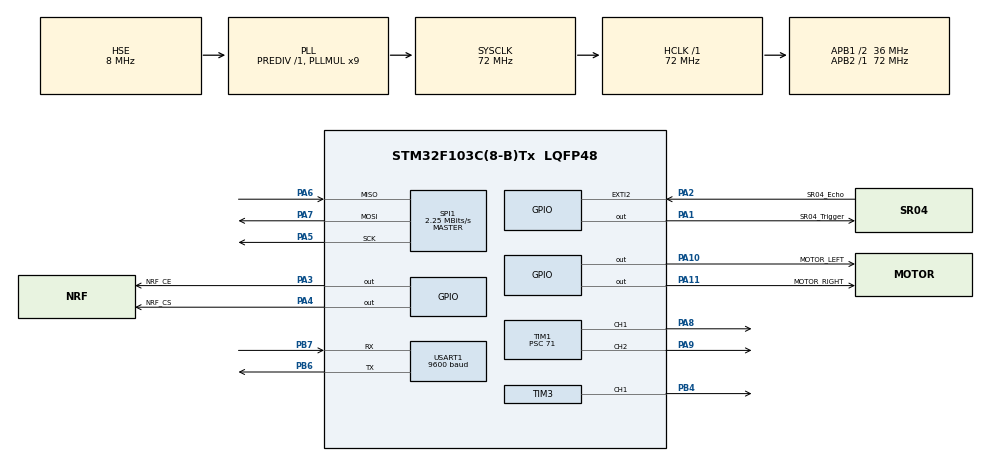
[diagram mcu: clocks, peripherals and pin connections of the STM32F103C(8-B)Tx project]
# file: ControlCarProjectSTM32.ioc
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Mcu.Family=STM32F1
Mcu.Name=STM32F103C(8-B)Tx
Mcu.Package=LQFP48
NVIC.EXTI2_IRQn=true\:1\:0\:true\:false\:true\:true\:true\:true
NVIC.PriorityGroup=NVIC_PRIORITYGROUP_4
NVIC.USART1_IRQn=true\:1\:0\:true\:false\:true\:true\:true\:true
PA1.GPIO_Label=SR04_Trigger
PA1.Signal=GPIO_Output
PA10.GPIO_Label=MOTOR_LEFT
PA10.Signal=GPIO_Output
PA11.GPIO_Label=MOTOR_RIGHT
PA11.Signal=GPIO_Output
PA13.Mode=Serial_Wire
PA13.Signal=SYS_JTMS-SWDIO
PA14.Mode=Serial_Wire
PA14.Signal=SYS_JTCK-SWCLK
PA2.GPIO_Label=SR04_Echo
PA2.GPIO_ModeDefaultEXTI=GPIO_MODE_IT_RISING_FALLING
PA2.Signal=GPXTI2
PA3.GPIO_Label=NRF_CE
PA3.Signal=GPIO_Output
PA4.GPIO_Label=NRF_CS
PA4.Signal=GPIO_Output
PA5.Mode=Full_Duplex_Master
PA5.Signal=SPI1_SCK
PA6.Mode=Full_Duplex_Master
PA6.Signal=SPI1_MISO
PA7.Mode=Full_Duplex_Master
PA7.Signal=SPI1_MOSI
PA8.Signal=S_TIM1_CH1
PA9.Signal=S_TIM1_CH2
PB4.Signal=S_TIM3_CH1
PB6.Mode=Asynchronous
PB6.Signal=USART1_TX
PB7.Mode=Asynchronous
PB7.Signal=USART1_RX
PD0-OSC_IN.Mode=HSE-External-Oscillator
PD0-OSC_IN.Signal=RCC_OSC_IN
PD1-OSC_OUT.Mode=HSE-External-Oscillator
PD1-OSC_OUT.Signal=RCC_OSC_OUT
ProjectManager.HeapSize=0x200
ProjectManager.StackSize=0x400
ProjectManager.TargetToolchain=STM32CubeIDE
RCC.AHBFreq_Value=72000000
RCC.APB1CLKDivider=RCC_HCLK_DIV2
RCC.APB1Freq_Value=36000000
RCC.APB1TimFreq_Value=72000000
RCC.APB2Freq_Value=72000000
RCC.APB2TimFreq_Value=72000000
RCC.HCLKFreq_Value=72000000
RCC.PLLMUL=RCC_PLL_MUL9
RCC.PLLSourceVirtual=RCC_PLLSOURCE_HSE
RCC.SYSCLKFreq_VALUE=72000000
RCC.SYSCLKSource=RCC_SYSCLKSOURCE_PLLCLK
RCC.USBFreq_Value=72000000
SH.S_TIM1_CH1.0=TIM1_CH1,PWM Generation1 CH1
SH.S_TIM1_CH2.0=TIM1_CH2,PWM Generation2 CH2
SH.S_TIM3_CH1.0=TIM3_CH1,PWM Generation1 CH1
SPI1.BaudRatePrescaler=SPI_BAUDRATEPRESCALER_32
SPI1.CalculateBaudRate=2.25 MBits/s
SPI1.Direction=SPI_DIRECTION_2LINES
SPI1.Mode=SPI_MODE_MASTER
SPI1.VirtualType=VM_MASTER
TIM1.Channel-PWM\ Generation1\ CH1=TIM_CHANNEL_1
TIM1.Channel-PWM\ Generation2\ CH2=TIM_CHANNEL_2
TIM1.Period=999
TIM1.Prescaler=71
TIM2.Prescaler=71
TIM3.Channel-PWM\ Generation1\ CH1=TIM_CHANNEL_1
USART1.BaudRate=9600
USART1.VirtualMode=VM_ASYNC
VP_TIM1_VS_ClockSourceINT.Mode=Internal
VP_TIM2_VS_ClockSourceINT.Mode=Internal
VP_TIM3_VS_ClockSourceINT.Mode=Internal
board=custom

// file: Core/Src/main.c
/* USER CODE BEGIN Header */
/**
 ******************************************************************************
 * @file           : main.c
 * @brief          : Main program body
 ******************************************************************************
 * @attention
 *
 * Copyright (c) 2023 STMicroelectronics.
 * All rights reserved.
 *
 * This software is licensed under terms that can be found in the LICENSE file
 * in the root directory of this software component.
 * If no LICENSE file comes with this software, it is provided AS-IS.
 *
 ******************************************************************************
 */
/* USER CODE END Header */
#include "main.h"

/* USER CODE BEGIN Includes */
#include "stdio.h"
#include "stdint.h"
#include "Car.h"
#include "Ultrasonic.h"
#include "Command.h"
#include "HC_06_Bluetooth.h"
/* USER CODE END Includes */

SPI_HandleTypeDef hspi1;

TIM_HandleTypeDef htim1;
TIM_HandleTypeDef htim2;
TIM_HandleTypeDef htim3;

UART_HandleTypeDef huart1;

void SystemClock_Config(void);
static void MX_GPIO_Init(void);
static void MX_SPI1_Init(void);
static void MX_TIM1_Init(void);
static void MX_USART1_UART_Init(void);
static void MX_TIM2_Init(void);
static void MX_TIM3_Init(void);

/* USER CODE BEGIN 0 */
#define MAX_DIR_DISTANCE 20.0
#define MAX_DELTA 5.0

Ultrasonic_t SR04;
bluetooth_t bluetooth_HC_06;
void Ultrasonic_complete_callback(Ultrasonic_t *Ultrasonic)
{
  if(Ultrasonic->GPIO_Pin_Echo == SR04_Echo_Pin)
  {
		printf("[TUANNGOC] SR04_Echo_Pin = %f \r\n", Ultrasonic->distance);
		if( Ultrasonic->distance <MAX_DIR_DISTANCE)
		{
			car_control(CAR_DIR_BACKWARD, 30);
		}
		else if(Ultrasonic->distance >MAX_DIR_DISTANCE&& Ultrasonic->distance <(MAX_DIR_DISTANCE +MAX_DELTA) )
		{
			//car_control(CAR_DIR_BACKWARD, 30);
			car_control(CAR_DIR_LEFT, 30);
		}
		else
		{
			car_control(CAR_DIR_FORDWARD, 30);
		}
  }
}
void HAL_GPIO_EXTI_Callback(uint16_t GPIO_Pin)
{
  if(GPIO_Pin == SR04.GPIO_Pin_Echo)
  {
    Ultrasonic_Ext_isr(&SR04,GPIO_Pin);
  }
}
void Receive_data_from_bluetooth_callback(uint8_t *data, uint8_t len)
{
	process_data(data, len);
}
void Receive_data_from_rf_callback(uint8_t *data, uint8_t len)
{
	process_data(data, len);
}
void HAL_UARTEx_RxEventCallback(UART_HandleTypeDef *huart, uint16_t Size)
{
	if(bluetooth_HC_06.huart->Instance == huart->Instance)
	{
	   bluetooth_handler(&bluetooth_HC_06,Size);
	}
}
/* USER CODE END 0 */

int main(void)
{

  /* MCU Configuration--------------------------------------------------------*/

  /* Reset of all peripherals, Initializes the Flash interface and the Systick. */
  HAL_Init();

  /* Configure the system clock */
  SystemClock_Config();

  /* Initialize all configured peripherals */
  MX_GPIO_Init();
  MX_SPI1_Init();
  MX_TIM1_Init();
  MX_USART1_UART_Init();
  MX_TIM2_Init();
  MX_TIM3_Init();
  /* USER CODE BEGIN 2 */
  car_init();
  bluetooth_init(&bluetooth_HC_06, &huart1);
  Ultra_init(&SR04,&htim2,SR04_Trigger_GPIO_Port, SR04_Trigger_Pin, SR04_Echo_GPIO_Port,SR04_Echo_Pin);
  /* USER CODE END 2 */

  /* Infinite loop */
  while (1)
  {

    /* USER CODE BEGIN 3 */

   //Ultra_handle(&SR04);
   static uint32_t toggleTimer ;
   if(SR04.ULTRA_error == true && (HAL_GetTick() -toggleTimer >= 500) )
   {
     HAL_GPIO_TogglePin(GPIOC, GPIO_PIN_13);
     toggleTimer = HAL_GetTick();
   }
  }
  /* USER CODE END 3 */
}

void SystemClock_Config(void)
{
  RCC_OscInitTypeDef RCC_OscInitStruct = {0};
  RCC_ClkInitTypeDef RCC_ClkInitStruct = {0};

  /** Initializes the RCC Oscillators according to the specified parameters
  * in the RCC_OscInitTypeDef structure.
  */
  RCC_OscInitStruct.OscillatorType = RCC_OSCILLATORTYPE_HSE;
  RCC_OscInitStruct.HSEState = RCC_HSE_ON;
  RCC_OscInitStruct.HSEPredivValue = RCC_HSE_PREDIV_DIV1;
  RCC_OscInitStruct.HSIState = RCC_HSI_ON;
  RCC_OscInitStruct.PLL.PLLState = RCC_PLL_ON;
  RCC_OscInitStruct.PLL.PLLSource = RCC_PLLSOURCE_HSE;
  RCC_OscInitStruct.PLL.PLLMUL = RCC_PLL_MUL9;
  if (HAL_RCC_OscConfig(&RCC_OscInitStruct) != HAL_OK)
  {
    Error_Handler();
  }

  /** Initializes the CPU, AHB and APB buses clocks
  */
  RCC_ClkInitStruct.ClockType = RCC_CLOCKTYPE_HCLK|RCC_CLOCKTYPE_SYSCLK
                              |RCC_CLOCKTYPE_PCLK1|RCC_CLOCKTYPE_PCLK2;
  RCC_ClkInitStruct.SYSCLKSource = RCC_SYSCLKSOURCE_PLLCLK;
  RCC_ClkInitStruct.AHBCLKDivider = RCC_SYSCLK_DIV1;
  RCC_ClkInitStruct.APB1CLKDivider = RCC_HCLK_DIV2;
  RCC_ClkInitStruct.APB2CLKDivider = RCC_HCLK_DIV1;

  if (HAL_RCC_ClockConfig(&RCC_ClkInitStruct, FLASH_LATENCY_2) != HAL_OK)
  {
    Error_Handler();
  }
}

static void MX_SPI1_Init(void)
{

  /* SPI1 parameter configuration*/
  hspi1.Instance = SPI1;
  hspi1.Init.Mode = SPI_MODE_MASTER;
  hspi1.Init.Direction = SPI_DIRECTION_2LINES;
  hspi1.Init.DataSize = SPI_DATASIZE_8BIT;
  hspi1.Init.CLKPolarity = SPI_POLARITY_LOW;
  hspi1.Init.CLKPhase = SPI_PHASE_1EDGE;
  hspi1.Init.NSS = SPI_NSS_SOFT;
  hspi1.Init.BaudRatePrescaler = SPI_BAUDRATEPRESCALER_32;
  hspi1.Init.FirstBit = SPI_FIRSTBIT_MSB;
  hspi1.Init.TIMode = SPI_TIMODE_DISABLE;
  hspi1.Init.CRCCalculation = SPI_CRCCALCULATION_DISABLE;
  hspi1.Init.CRCPolynomial = 10;
  if (HAL_SPI_Init(&hspi1) != HAL_OK)
  {
    Error_Handler();
  }

}

static void MX_TIM1_Init(void)
{

  TIM_ClockConfigTypeDef sClockSourceConfig = {0};
  TIM_MasterConfigTypeDef sMasterConfig = {0};
  TIM_OC_InitTypeDef sConfigOC = {0};
  TIM_BreakDeadTimeConfigTypeDef sBreakDeadTimeConfig = {0};

  htim1.Instance = TIM1;
  htim1.Init.Prescaler = 71;
  htim1.Init.CounterMode = TIM_COUNTERMODE_UP;
  htim1.Init.Period = 999;
  htim1.Init.ClockDivision = TIM_CLOCKDIVISION_DIV1;
  htim1.Init.RepetitionCounter = 0;
  htim1.Init.AutoReloadPreload = TIM_AUTORELOAD_PRELOAD_DISABLE;
  if (HAL_TIM_Base_Init(&htim1) != HAL_OK)
  {
    Error_Handler();
  }
  sClockSourceConfig.ClockSource = TIM_CLOCKSOURCE_INTERNAL;
  if (HAL_TIM_ConfigClockSource(&htim1, &sClockSourceConfig) != HAL_OK)
  {
    Error_Handler();
  }
  if (HAL_TIM_PWM_Init(&htim1) != HAL_OK)
  {
    Error_Handler();
  }
  sMasterConfig.MasterOutputTrigger = TIM_TRGO_RESET;
  sMasterConfig.MasterSlaveMode = TIM_MASTERSLAVEMODE_DISABLE;
  if (HAL_TIMEx_MasterConfigSynchronization(&htim1, &sMasterConfig) != HAL_OK)
  {
    Error_Handler();
  }
  sConfigOC.OCMode = TIM_OCMODE_PWM1;
  sConfigOC.Pulse = 0;
  sConfigOC.OCPolarity = TIM_OCPOLARITY_HIGH;
  sConfigOC.OCNPolarity = TIM_OCNPOLARITY_HIGH;
  sConfigOC.OCFastMode = TIM_OCFAST_DISABLE;
  sConfigOC.OCIdleState = TIM_OCIDLESTATE_RESET;
  sConfigOC.OCNIdleState = TIM_OCNIDLESTATE_RESET;
  if (HAL_TIM_PWM_ConfigChannel(&htim1, &sConfigOC, TIM_CHANNEL_1) != HAL_OK)
  {
    Error_Handler();
  }
  if (HAL_TIM_PWM_ConfigChannel(&htim1, &sConfigOC, TIM_CHANNEL_2) != HAL_OK)
  {
    Error_Handler();
  }
  sBreakDeadTimeConfig.OffStateRunMode = TIM_OSSR_DISABLE;
  sBreakDeadTimeConfig.OffStateIDLEMode = TIM_OSSI_DISABLE;
  sBreakDeadTimeConfig.LockLevel = TIM_LOCKLEVEL_OFF;
  sBreakDeadTimeConfig.DeadTime = 0;
  sBreakDeadTimeConfig.BreakState = TIM_BREAK_DISABLE;
  sBreakDeadTimeConfig.BreakPolarity = TIM_BREAKPOLARITY_HIGH;
  sBreakDeadTimeConfig.AutomaticOutput = TIM_AUTOMATICOUTPUT_DISABLE;
  if (HAL_TIMEx_ConfigBreakDeadTime(&htim1, &sBreakDeadTimeConfig) != HAL_OK)
  {
    Error_Handler();
  }
  HAL_TIM_MspPostInit(&htim1);

}

static void MX_TIM2_Init(void)
{

  TIM_ClockConfigTypeDef sClockSourceConfig = {0};
  TIM_MasterConfigTypeDef sMasterConfig = {0};

  htim2.Instance = TIM2;
  htim2.Init.Prescaler = 71;
  htim2.Init.CounterMode = TIM_COUNTERMODE_UP;
  htim2.Init.Period = 65535;
  htim2.Init.ClockDivision = TIM_CLOCKDIVISION_DIV1;
  htim2.Init.AutoReloadPreload = TIM_AUTORELOAD_PRELOAD_DISABLE;
  if (HAL_TIM_Base_Init(&htim2) != HAL_OK)
  {
    Error_Handler();
  }
  sClockSourceConfig.ClockSource = TIM_CLOCKSOURCE_INTERNAL;
  if (HAL_TIM_ConfigClockSource(&htim2, &sClockSourceConfig) != HAL_OK)
  {
    Error_Handler();
  }
  sMasterConfig.MasterOutputTrigger = TIM_TRGO_RESET;
  sMasterConfig.MasterSlaveMode = TIM_MASTERSLAVEMODE_DISABLE;
  if (HAL_TIMEx_MasterConfigSynchronization(&htim2, &sMasterConfig) != HAL_OK)
  {
    Error_Handler();
  }

}

static void MX_TIM3_Init(void)
{

  TIM_ClockConfigTypeDef sClockSourceConfig = {0};
  TIM_MasterConfigTypeDef sMasterConfig = {0};
  TIM_OC_InitTypeDef sConfigOC = {0};

  htim3.Instance = TIM3;
  htim3.Init.Prescaler = 0;
  htim3.Init.CounterMode = TIM_COUNTERMODE_UP;
  htim3.Init.Period = 65535;
  htim3.Init.ClockDivision = TIM_CLOCKDIVISION_DIV1;
  htim3.Init.AutoReloadPreload = TIM_AUTORELOAD_PRELOAD_DISABLE;
  if (HAL_TIM_Base_Init(&htim3) != HAL_OK)
  {
    Error_Handler();
  }
  sClockSourceConfig.ClockSource = TIM_CLOCKSOURCE_INTERNAL;
  if (HAL_TIM_ConfigClockSource(&htim3, &sClockSourceConfig) != HAL_OK)
  {
    Error_Handler();
  }
  if (HAL_TIM_PWM_Init(&htim3) != HAL_OK)
  {
    Error_Handler();
  }
  sMasterConfig.MasterOutputTrigger = TIM_TRGO_RESET;
  sMasterConfig.MasterSlaveMode = TIM_MASTERSLAVEMODE_DISABLE;
  if (HAL_TIMEx_MasterConfigSynchronization(&htim3, &sMasterConfig) != HAL_OK)
  {
    Error_Handler();
  }
  sConfigOC.OCMode = TIM_OCMODE_PWM1;
  sConfigOC.Pulse = 0;
  sConfigOC.OCPolarity = TIM_OCPOLARITY_HIGH;
  sConfigOC.OCFastMode = TIM_OCFAST_DISABLE;
  if (HAL_TIM_PWM_ConfigChannel(&htim3, &sConfigOC, TIM_CHANNEL_1) != HAL_OK)
  {
    Error_Handler();
  }
  HAL_TIM_MspPostInit(&htim3);

}

static void MX_USART1_UART_Init(void)
{

  huart1.Instance = USART1;
  huart1.Init.BaudRate = 9600;
  huart1.Init.WordLength = UART_WORDLENGTH_8B;
  huart1.Init.StopBits = UART_STOPBITS_1;
  huart1.Init.Parity = UART_PARITY_NONE;
  huart1.Init.Mode = UART_MODE_TX_RX;
  huart1.Init.HwFlowCtl = UART_HWCONTROL_NONE;
  huart1.Init.OverSampling = UART_OVERSAMPLING_16;
  if (HAL_UART_Init(&huart1) != HAL_OK)
  {
    Error_Handler();
  }

}

static void MX_GPIO_Init(void)
{
  GPIO_InitTypeDef GPIO_InitStruct = {0};

  /* GPIO Ports Clock Enable */
  __HAL_RCC_GPIOD_CLK_ENABLE();
  __HAL_RCC_GPIOA_CLK_ENABLE();
  __HAL_RCC_GPIOB_CLK_ENABLE();

  /*Configure GPIO pin Output Level */
  HAL_GPIO_WritePin(GPIOA, SR04_Trigger_Pin|NRF_CE_Pin|NRF_CS_Pin|MOTOR_LEFT_Pin
                          |MOTOR_RIGHT_Pin, GPIO_PIN_RESET);

  /*Configure GPIO pins : SR04_Trigger_Pin NRF_CE_Pin NRF_CS_Pin MOTOR_LEFT_Pin
                           MOTOR_RIGHT_Pin */
  GPIO_InitStruct.Pin = SR04_Trigger_Pin|NRF_CE_Pin|NRF_CS_Pin|MOTOR_LEFT_Pin
                          |MOTOR_RIGHT_Pin;
  GPIO_InitStruct.Mode = GPIO_MODE_OUTPUT_PP;
  GPIO_InitStruct.Pull = GPIO_NOPULL;
  GPIO_InitStruct.Speed = GPIO_SPEED_FREQ_LOW;
  HAL_GPIO_Init(GPIOA, &GPIO_InitStruct);

  /*Configure GPIO pin : SR04_Echo_Pin */
  GPIO_InitStruct.Pin = SR04_Echo_Pin;
  GPIO_InitStruct.Mode = GPIO_MODE_IT_RISING_FALLING;
  GPIO_InitStruct.Pull = GPIO_NOPULL;
  HAL_GPIO_Init(SR04_Echo_GPIO_Port, &GPIO_InitStruct);

  /* EXTI interrupt init*/
  HAL_NVIC_SetPriority(EXTI2_IRQn, 1, 0);
  HAL_NVIC_EnableIRQ(EXTI2_IRQn);

}

void Error_Handler(void)
{
  __disable_irq();
  while (1)
  {
  }
}
